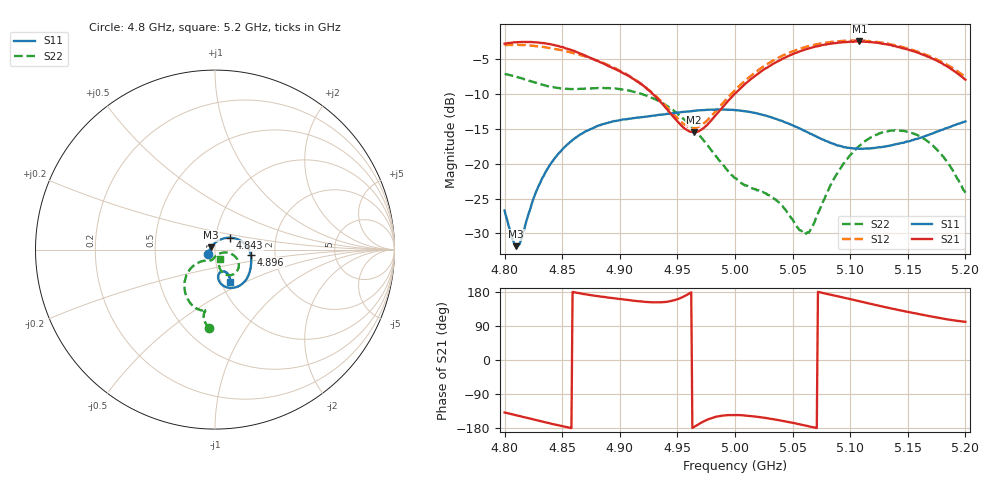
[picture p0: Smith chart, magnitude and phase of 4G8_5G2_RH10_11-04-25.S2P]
! Network Analyzer HP8722D
! Hewlett-Packard
! Data name:
! Saver's name:
! Comments:
! Time and date: 11/4/2025 10:26
!  Frequency  S11  S21  S12  S22
# HZ  S  DB R 50
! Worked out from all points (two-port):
!   401 points, 4.8 GHz to 5.2 GHz, reference 50 ohm
!   highest |S21| = -2.53 dB at 5.108 GHz (marker M1); lowest = -15.5 dB at 4.964 GHz (marker M2)
!   |S21| within 3 dB of the highest: start of sweep to 4.883 GHz; 5.036 GHz to 5.178 GHz (142.6 MHz wide, 2.79 % of centre)
!   lowest |S11| = -31.8 dB at 4.81 GHz (marker M3), VSWR 1.05, Z = 47.8 + j1.2 ohm
!   |S11| at or under -10 dB: start of sweep to end of sweep
!   |S22| runs from -30.1 to -7.2 dB; largest |S21 - S12| = 0.083
!   S11 on the Smith chart (normalised r, x): 4.8 GHz: 0.92, -0.05; 4.843 GHz: 1.18, +0.16; 4.896 GHz: 1.49, -0.09; 5.2 GHz: 1.10, -0.42
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4.8e9  -26.72 -147.8  -2.84 -138.5  -3.05 -136.3  -7.17 -94.0
4.81e9  -31.82 150.7  -2.64 -145.8  -3.02 -143.6  -7.55 -96.9
4.814e9  -31.07 115.5  -2.62 -148.6  -3.04 -146.1  -7.75 -97.8
4.829e9  -23.36 58.7  -2.69 -159.8  -3.24 -155.8  -8.52 -99.6
4.843e9  -19.34 37.6  -3.04 -169.9  -3.58 -164.3  -9.11 -99.4
4.867e9  -15.73 13.7  -4.33 174.9  -4.55 -177.7  -9.29 -99.0
4.896e9  -13.92 -8.4  -6.49 162.5  -6.36 168.3  -9.26 -107.5
4.934e9  -13.03 -27.4  -10.95 152.1  -10.75 158.7  -11.08 -127.3
4.954e9  -12.62 -36.0  -14.64 165.3  -14.14 171.3  -13.39 -138.2
4.964e9  -12.45 -40.7  -15.52 -177.5  -14.91 -172.7  -14.99 -141.8
4.975e9  -12.32 -46.2  -14.60 -158.9  -13.94 -155.0  -17.15 -143.2
5e9  -12.36 -59.2  -9.99 -145.2  -9.48 -142.6  -22.07 -129.9
5.034e9  -13.52 -75.7  -5.66 -156.8  -5.16 -155.1  -25.07 -103.5
5.058e9  -15.10 -82.7  -3.85 -171.0  -3.48 -170.3  -29.68 -68.4
5.067e9  -15.83 -83.6  -3.39 -176.7  -3.06 -176.3  -29.04 -36.9
5.087e9  -17.27 -80.8  -2.78 169.5  -2.55 170.2  -21.88 -13.7
5.108e9  -17.90 -73.5  -2.53 155.2  -2.41 155.7  -17.46 -23.3
5.134e9  -17.46 -66.1  -3.01 137.1  -2.90 138.4  -15.32 -43.9
5.152e9  -16.76 -63.3  -3.77 125.9  -3.64 127.2  -15.57 -58.4
5.169e9  -15.84 -61.7  -4.80 115.7  -4.63 117.4  -17.06 -70.6
5.183e9  -14.94 -62.4  -5.98 108.0  -5.75 109.7  -19.51 -75.9
5.2e9  -13.97 -65.6  -8.00 100.7  -7.61 102.2  -24.17 -63.0
